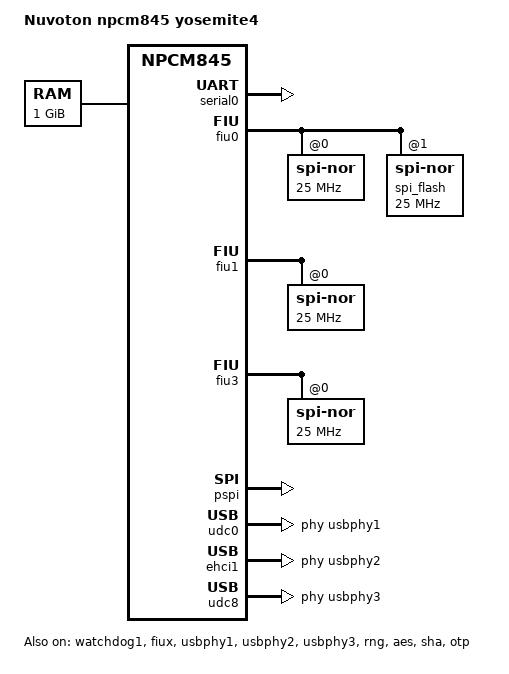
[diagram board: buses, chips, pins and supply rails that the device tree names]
// SPDX-License-Identifier: GPL-2.0
// Copyright (c) 2024 Nuvoton Technology

/dts-v1/;

#include <dt-bindings/phy/nuvoton,npcm-usbphy.h>
#include "nuvoton-npcm845.dtsi"
#include "nuvoton-npcm845-yosemite4-pincfg.dtsi"

/ {
	model = "Nuvoton npcm845 yosemite4";
	compatible = "nuvoton,npcm845";

	aliases {
		serial0 = &serial0;
		ethernet0 = &gmac0;
		ethernet1 = &gmac1;
		ethernet2 = &gmac2;
		ethernet3 = &gmac3;
		i2c0 = &i2c0;
		i2c1 = &i2c1;
		i2c2 = &i2c2;
		i2c3 = &i2c3;
		i2c4 = &i2c4;
		i2c5 = &i2c5;
		i2c6 = &i2c6;
		i2c7 = &i2c7;
		i2c8 = &i2c8;
		i2c9 = &i2c9;
		i2c10 = &i2c10;
		i2c11 = &i2c11;
		i2c12 = &i2c12;
		i2c13 = &i2c13;
		i2c14 = &i2c14;
		i2c15 = &i2c15;
		i2c16 = &i2c16;
		i2c17 = &i2c17;
		i2c18 = &i2c18;
		i2c19 = &i2c19;
		i2c20 = &i2c20;
		i2c21 = &i2c21;
		i2c22 = &i2c22;
		i2c23 = &i2c23;
		i2c24 = &i2c24;
		i2c25 = &i2c25;
		i2c26 = &i2c26;
		spi0 = &fiu0;
		spi1 = &fiu1;
		spi3 = &fiu3;
		spi4 = &fiux;
		spi5 = &pspi;
		usb0 = &udc0;
		usb1 = &ehci1;
		usb2 = &udc8;
	};

	chosen {
		stdout-path = &serial0;
	};

	memory {
		reg = <0x0 0x0 0x0 0x40000000>;
	};

	tpm@0 {
		compatible = "microsoft,ftpm";
	};

	firmware {
		optee {
			compatible = "linaro,optee-tz";
			method = "smc";
		};
	};

	vsbr2: vsbr2 {
		compatible = "regulator-npcm845";
		regulator-name = "vr2";
		regulator-min-microvolt = <1800000>;
		regulator-max-microvolt = <3300000>;
		regulator-always-on;
	};

	vsbv8: vsbv8 {
		compatible = "regulator-npcm845";
		regulator-name = "v8";
		regulator-min-microvolt = <1800000>;
		regulator-max-microvolt = <3300000>;
		regulator-always-on;
	};

	vsbv5: vsbv5 {
		compatible = "regulator-npcm845";
		regulator-name = "v5";
		regulator-min-microvolt = <1800000>;
		regulator-max-microvolt = <3300000>;
		regulator-always-on;
	};

};

&serial0 {
	status = "okay";
};

&watchdog1 {
	status = "okay";
};

&fiu0 {
	status = "okay";
	pinctrl-names = "default";
	pinctrl-0 = <&spi0cs1_pins>;
	spi-nor@0 {
		compatible = "jedec,spi-nor";
		reg = <0>;
		spi-max-frequency = <25000000>;
	};
	spi_flash@1 {
		compatible = "jedec,spi-nor";
		reg = <1>;
		spi-max-frequency = <25000000>;
	};
};

&fiu1 {
	status = "okay";
	spi-nor@0 {
		compatible = "jedec,spi-nor";
		reg = <0>;
		spi-max-frequency = <25000000>;
	};
};

&fiu3 {
	pinctrl-0 = <&spi3_pins>, <&spi3quad_pins>;
	status = "okay";
	vqspi-supply = <&vsbv5>;
	vqspi-microvolt = <3300000>;
	spi-nor@0 {
		compatible = "jedec,spi-nor";
		reg = <0>;
		spi-max-frequency = <25000000>;
	};
};

&fiux {
	nuvoton,spix-mode;
	status = "okay";
};

&pspi {
	status = "okay";
};

&usbphy1 {
	status = "okay";
};

&usbphy2 {
	status = "okay";
};

&usbphy3 {
	status = "okay";
};

&udc0 {
	status = "okay";
	phys = <&usbphy1 NPCM_UDC0_7>;
};

&ehci1 {
	status = "okay";
	phys = <&usbphy2 NPCM_USBH1>;
};

&udc8 {
	status = "okay";
	phys = <&usbphy3 NPCM_UDC8>;
};

&rng {
	status = "okay";
};

&aes {
	status = "okay";
};

&sha {
	status = "okay";
};

&otp {
	status = "okay";
};

&pinctrl {
        pinctrl-names = "default";
        pinctrl-0 = <
		&spix_pins
		&r1_pins
		&r1en_pins
		&r1oen_pins
		&r2_pins
		&r2en_pins
		&r2oen_pins
		&gpio234_pins
		&gpio61_pins
		&gpio46_pins
		&gpio54_pins
		&gpio55_pins
		&gpio121_pins
		&gpio108_pins
		&gpio109_pins
		&gpio183_pins
		&gpio184_pins
		&gpio189_pins
		&gpio92_pins
		&gpio35_pins
		&gpio36_pins
		&gpio62_pins
		&gpio45_pins
		&gpio83_pins
		&gpio144_pins
		&gpio145_pins
		&gpio146_pins
		&gpio159_pins
		&gpio127_pins
		&gpio15_pins
	>;
};
